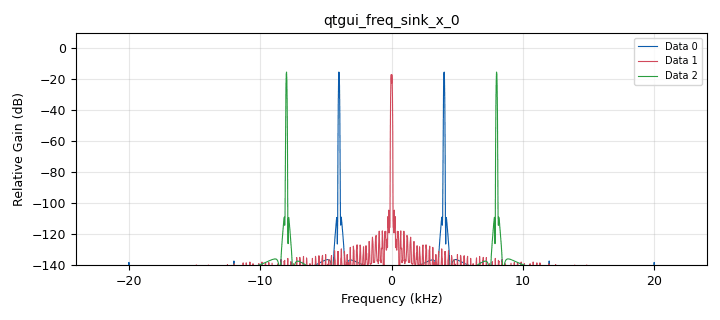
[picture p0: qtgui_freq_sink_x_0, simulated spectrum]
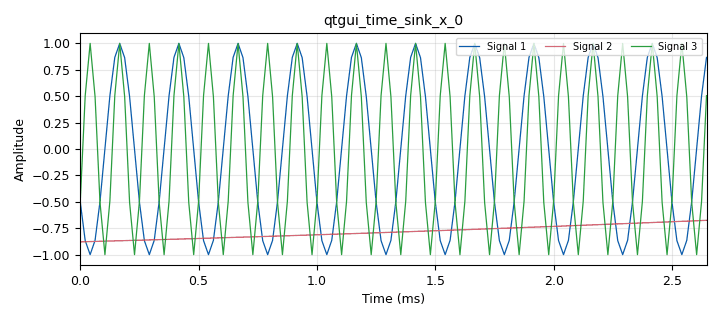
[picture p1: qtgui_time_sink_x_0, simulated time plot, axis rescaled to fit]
options:
  parameters:
    author: Gomez_Robert_Beltran_Diego_C1A_G1
    generate_options: qt_gui
    id: lab1_parteb
    output_language: python
    title: Lab1_parteb
  states: {}

blocks:
- name: freq
  id: variable_qtgui_range
  parameters:
    label: frequency
    start: '1000'
    step: '1000'
    stop: '40000'
    value: '4000'
  states: {}
- name: samp_rate
  id: variable
  parameters:
    value: '48000'
  states: {}
- name: samp_rate
  id: variable_qtgui_range
  parameters:
    label: frecuencia de muestreo
    start: '1000'
    step: '1000'
    stop: '80000'
    value: '10000'
  states: {state: disabled}
- name: analog_sig_source_x_0
  id: analog_sig_source_x
  parameters:
    amp: '1'
    freq: freq
    offset: '0'
    phase: '0'
    samp_rate: samp_rate
    type: float
    waveform: analog.GR_COS_WAVE
  states: {}
- name: analog_sig_source_x_0_0
  id: analog_sig_source_x
  parameters:
    amp: '1'
    freq: freq
    offset: '0'
    phase: '0'
    samp_rate: samp_rate
    type: float
    waveform: analog.GR_COS_WAVE
  states: {}
- name: analog_sig_source_x_0_1
  id: analog_sig_source_x
  parameters:
    amp: '1'
    freq: freq
    offset: '0'
    phase: '0'
    samp_rate: samp_rate
    type: float
    waveform: analog.GR_COS_WAVE
  states: {}
- name: blocks_throttle_0
  id: blocks_throttle
  parameters:
    samples_per_second: samp_rate
    type: float
  states: {}
- name: qtgui_freq_sink_x_0
  id: qtgui_freq_sink_x
  parameters:
    bw: samp_rate
    fc: '0'
    fftsize: '2048'
    nconnections: '3'
    type: float
  states: {}
- name: qtgui_time_sink_x_0
  id: qtgui_time_sink_x
  parameters:
    nconnections: '3'
    size: '128'
    srate: samp_rate
    type: float
  states: {}
- name: rational_resampler_xxx_0
  id: rational_resampler_xxx
  parameters:
    decim: '200'
    interp: '200'
    type: fff
  states: {}
- name: rational_resampler_xxx_1
  id: rational_resampler_xxx
  parameters:
    decim: '1'
    interp: '200'
    type: fff
  states: {}
- name: rational_resampler_xxx_2
  id: rational_resampler_xxx
  parameters:
    decim: '100'
    interp: '50'
    type: fff
  states: {}

connections:
- [analog_sig_source_x_0, '0', rational_resampler_xxx_0, '0']
- [analog_sig_source_x_0_0, '0', rational_resampler_xxx_1, '0']
- [analog_sig_source_x_0_1, '0', rational_resampler_xxx_2, '0']
- [blocks_throttle_0, '0', qtgui_freq_sink_x_0, '0']
- [blocks_throttle_0, '0', qtgui_time_sink_x_0, '0']
- [rational_resampler_xxx_0, '0', blocks_throttle_0, '0']
- [rational_resampler_xxx_1, '0', qtgui_freq_sink_x_0, '1']
- [rational_resampler_xxx_1, '0', qtgui_time_sink_x_0, '1']
- [rational_resampler_xxx_2, '0', qtgui_freq_sink_x_0, '2']
- [rational_resampler_xxx_2, '0', qtgui_time_sink_x_0, '2']

metadata:
  file_format: 1
  grc_version: 3.9.8.0
